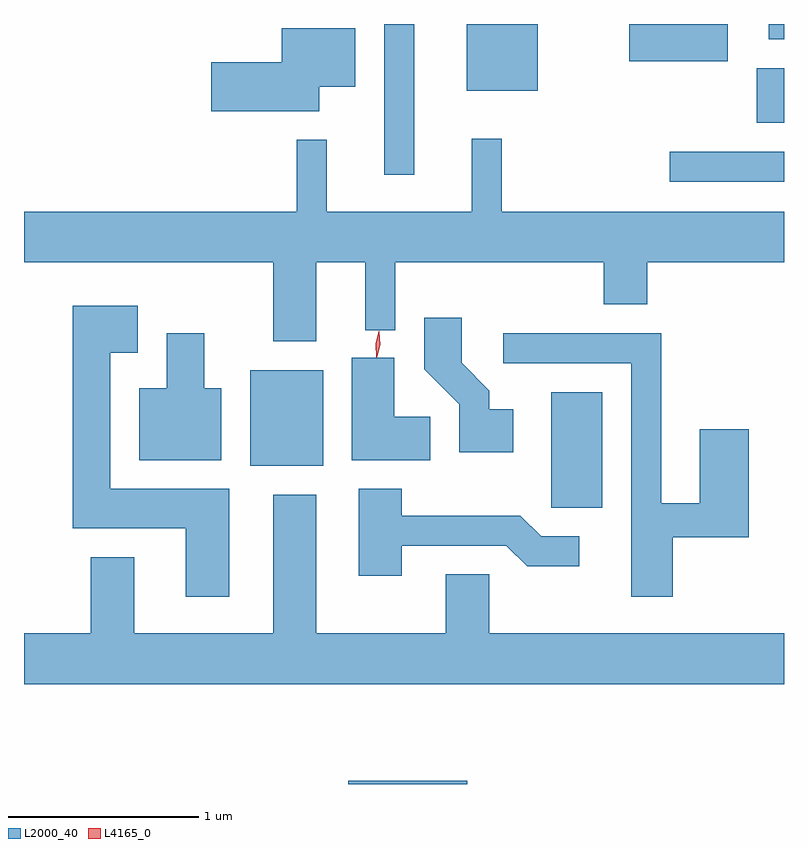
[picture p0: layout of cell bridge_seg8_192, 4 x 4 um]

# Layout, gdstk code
import gdstk
lib = gdstk.Library(unit=1e-6, precision=1e-09)
def R(c, l, rs):  # rectangles x0, y0, x1, y1
    for r in rs: c.add(gdstk.rectangle(r[:2], r[2:], *l))
def P(c, l, *ps):  # polygons
    for p in ps: c.add(gdstk.Polygon(p, *l))
L2000_40 = (2000, 40)
L4165_0 = (4165, 0)

bridge_seg8_192 = lib.new_cell('bridge_seg8_192')
R(bridge_seg8_192, L2000_40, [(1156.176,1926.911,1156.804,1926.929), (1157.246,1928.366,1157.514,1928.974), (1155.661,1928.586,1156.044,1929.089), (1157.868,1930.081,1158.47,1930.239), (1156.366,1930.118,1156.524,1930.911), (1158.326,1930.391,1158.47,1930.679), (1156.801,1930.561,1157.174,1930.911), (1157.656,1930.716,1158.174,1930.911), (1158.391,1930.831,1158.47,1930.911)])
P(bridge_seg8_192, L2000_40, [(1156.024,1930.581),(1156.214,1930.581),(1156.214,1930.889),(1155.826,1930.889),(1155.826,1930.709),(1155.456,1930.709),(1155.456,1930.451),(1156.024,1930.451)],
  [(1156.009,1929.656),(1156.266,1929.656),(1156.266,1929.298),(1156.424,1929.298),(1156.424,1929.656),(1157.521,1929.656),(1157.521,1929.436),(1157.749,1929.436),(1157.749,1929.656),(1158.47,1929.656),(1158.47,1929.924),(1156.984,1929.924),(1156.984,1930.308),(1156.826,1930.308),(1156.826,1929.924),(1156.064,1929.924),(1156.064,1930.303),(1155.906,1930.303),(1155.906,1929.924),(1154.47,1929.924),(1154.47,1929.656),(1155.781,1929.656),(1155.781,1929.241),(1156.009,1929.241)],
  [(1155.549,1928.464),(1154.924,1928.464),(1154.924,1929.181),(1155.069,1929.181),(1155.069,1929.429),(1154.726,1929.429),(1154.726,1928.256),(1155.321,1928.256),(1155.321,1927.896),(1155.549,1927.896)],
  [(1157.044,1928.884),(1156.919,1928.884),(1156.919,1928.982),(1156.774,1929.127),(1156.774,1929.364),(1156.576,1929.364),(1156.576,1929.094),(1156.761,1928.909),(1156.761,1928.656),(1157.044,1928.656)],
  [(1157.884,1928.211),(1158.284,1928.211),(1158.284,1928.779),(1158.026,1928.779),(1158.026,1928.389),(1157.824,1928.389),(1157.824,1929.284),(1156.993,1929.284),(1156.993,1929.126),(1157.666,1929.126),(1157.666,1927.896),(1157.884,1927.896)],
  [(1155.509,1928.994),(1155.419,1928.994),(1155.419,1929.284),(1155.221,1929.284),(1155.221,1928.994),(1155.076,1928.994),(1155.076,1928.616),(1155.509,1928.616)],
  [(1156.609,1928.844),(1156.419,1928.844),(1156.419,1929.154),(1156.196,1929.154),(1156.196,1928.616),(1156.609,1928.616)],
  [(1156.459,1928.166),(1157.009,1928.166),(1157.119,1928.056),(1157.393,1928.056),(1157.393,1928.214),(1157.192,1928.214),(1157.082,1928.324),(1156.459,1928.324),(1156.459,1928.464),(1156.231,1928.464),(1156.231,1928.006),(1156.459,1928.006)],
  [(1156.691,1928.014),(1156.691,1927.704),(1156.009,1927.704),(1156.009,1928.434),(1155.781,1928.434),(1155.781,1927.704),(1155.049,1927.704),(1155.049,1928.104),(1154.821,1928.104),(1154.821,1927.704),(1154.47,1927.704),(1154.47,1927.436),(1158.47,1927.436),(1158.47,1927.704),(1156.919,1927.704),(1156.919,1928.014)])
P(bridge_seg8_192, L4165_0, [(1156.329,1929.159),(1156.328,1929.16),(1156.324,1929.226),(1156.339,1929.291),(1156.34,1929.291),(1156.34,1929.291),(1156.344,1929.224),(1156.33,1929.16)],
  [(1156.325,1929.157),(1156.325,1929.157),(1156.322,1929.227),(1156.338,1929.294),(1156.339,1929.295),(1156.339,1929.294),(1156.342,1929.225),(1156.326,1929.157)])

lib.write_gds('bridge_seg8_192.gds')
